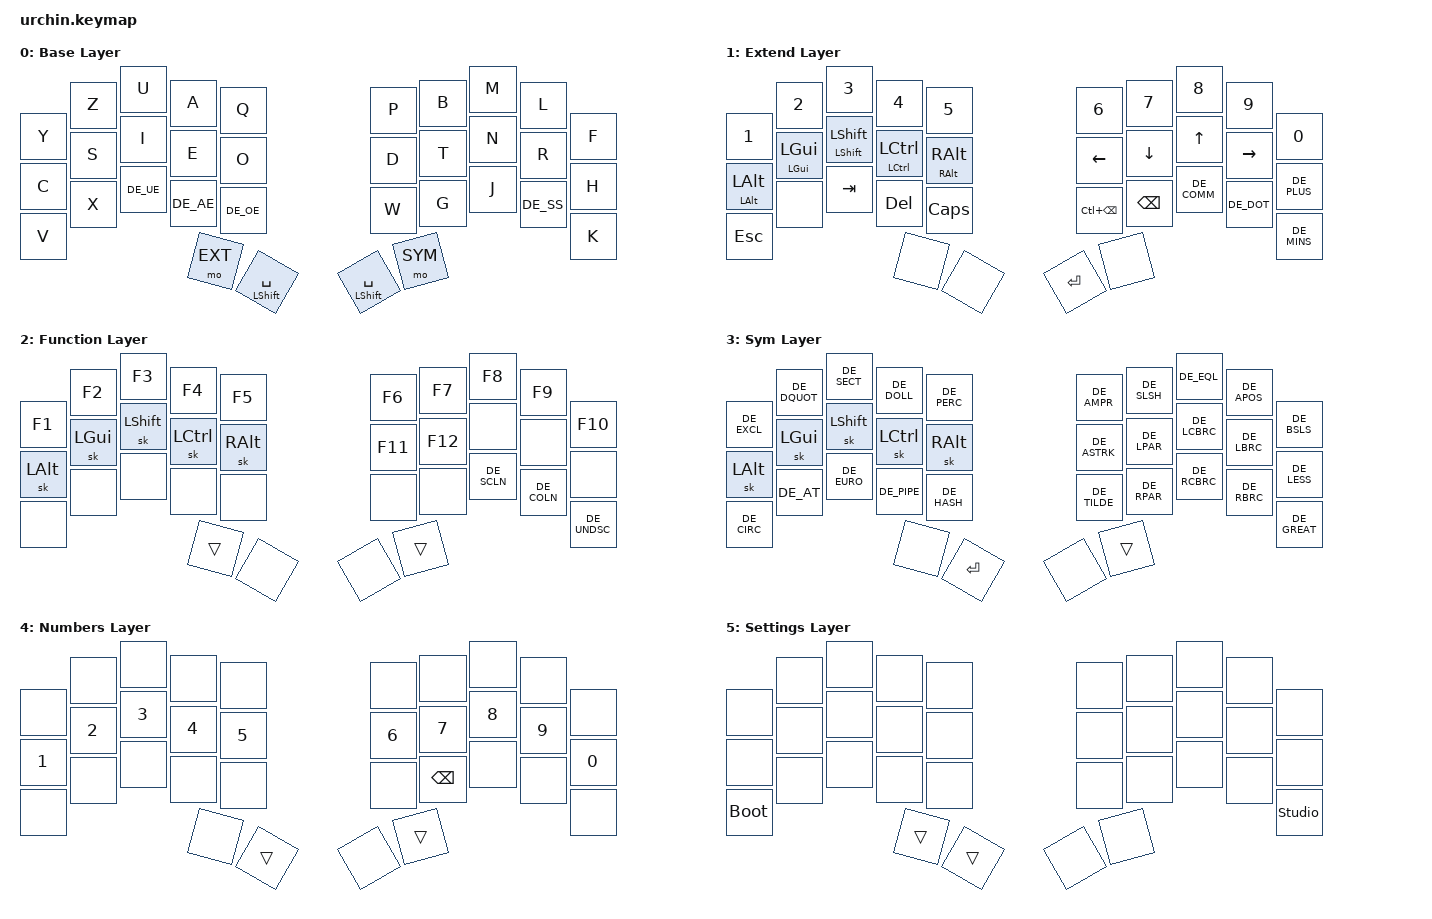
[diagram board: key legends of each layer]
/*
 * Copyright (c) 2020 duckyb
 *
 * SPDX-License-Identifier: MIT
 */

#include <behaviors.dtsi>
#include <dt-bindings/zmk/keys.h>
#include <dt-bindings/zmk/bt.h>
#include <dt-bindings/zmk/outputs.h>
#include "keymap_german.h"

// Layer definitions
#define BASE 0
#define EXT 1
#define FNC 2
#define SYM 3
#define NUM 4
#define SETTINGS 5
// -----------------

&sk {
	// don't release mods on other mods presses
	ignore-modifiers;
};
/ {
	behaviors {
		// Enables holding the first mod-tap key
		// by performing a tap-release-hold sequence.
		// To use it: "&qt KEYCODE1 KEYCODE2"
		qt: quick_tap {
			compatible = "zmk,behavior-hold-tap";
			#binding-cells = <2>;
			flavor = "hold-preferred";
			tapping-term-ms = <200>;
			quick-tap-ms = <200>;
			bindings = <&kp>, <&kp>;
		};
		smt: sticky_mod_tap {
            compatible = "zmk,behavior-hold-tap";
            #binding-cells = <2>;
            flavor = "hold-preferred";
            tapping-term-ms = <200>;
            bindings = <&kp>, <&sk>;
            display-name = "sticky Mod-Tap";
        };
	};

	macros {
		// sometimes my device thinks a modifier is being held down
		// pressing all modifiers fixes it.
		unstick: unstick {
			compatible = "zmk,behavior-macro";
			#binding-cells = <0>;
			bindings = <&kp LSHIFT &kp RSHIFT &kp LCTRL &kp RCTRL &kp LALT &kp RALT &kp LGUI &kp RGUI>;
		};
	};

	combos {
		compatible = "zmk,combos";

		// both left thumb keys
		combo_settings {
			timeout-ms = <200>;
			key-positions = <30 31>;
			bindings = <&mo SETTINGS>;
		};

		// outer left + outer right thumb
		combo_fnc {
			timeout-ms = <200>;
			key-positions = <30 33>;
			bindings = <&mo FNC>;
		};

		// inner left + outer right thumb
		combo_num {
			timeout-ms = <200>;
			key-positions = <31 33>;
			bindings = <&mo NUM>;
		};
	};

	keymap {
		compatible = "zmk,keymap";
		// Noted Base Layer
        // ┌───┬───┬───┬───┬───┐       ┌───┬───┬───┬───┬───┐
        // │ Y │ Z │ U │ A │ Q │       │ P │ B │ M │ L │ F │
        // ├───┼───┼───┼───┼───┤       ├───┼───┼───┼───┼───┤
        // │ C │ S │ I │ E │ O │       │ D │ T │ N │ R │ H │
        // ├───┼───┼───┼───┼───┤       ├───┼───┼───┼───┼───┤
        // │ V │ X │ Ü │ Ä │ Ö │       │ W │ G │ J │ ß │ K │
        // └───┴───┴───┴───┴───┘       └───┴───┴───┴───┴───┘
        //         ┌──────┬──────┐     ┌──────┬──────┐
        //         │ EXT  │LSHFT │     │SPACE │ SYM  │
        //         └──────┴──────┘     └──────┴──────┘
		default_layer {
			display-name = "Base Layer";
			bindings = <
				&kp Y   &kp Z   &kp U   &kp A   &kp Q      &kp P   &kp B   &kp M   &kp L   &kp F
				&kp C   &kp S   &kp I   &kp E   &kp O      &kp D   &kp T   &kp N   &kp R   &kp H
				&kp V   &kp X   &kp DE_UE &kp DE_AE &kp DE_OE  &kp W   &kp G   &kp J   &kp DE_SS   &kp K
								&mo EXT &qt LSHIFT SPACE       &qt LSHIFT SPACE &mo SYM
			>;
		};
		// Extend layer
        // ┌───┬───┬───┬───┬───┐       ┌───┬───┬───┬───┬───┐
        // │ 1 │ 2 │ 3 │ 4 │ 5 │       │ 6 │ 7 │ 8 │ 9 │ 0 │
        // ├───┼───┼───┼───┼───┤       ├───┼───┼───┼───┼───┤
        // │ALT│WIN│SFT│CTL│ALR│       │LFT│DWN│UP │RGT│ + │
        // ├───┼───┼───┼───┼───┤       ├───┼───┼───┼───┼───┤
        // │Esc│   │TAB│DEL│CAP│       │C+B│BSP│ , │ . │ - │
        // └───┴───┴───┴───┴───┘       └───┴───┴───┴───┴───┘
        //         ┌─────┬─────┐       ┌─────┬─────┐
        //         │  X  │None │       │Enter│None │
        //         └─────┴─────┘       └─────┴─────┘
		ext_layer {
			display-name = "Extend Layer";
			bindings = <
				&kp N1 	   &kp N2   &kp N3   &kp N4    &kp N5         &kp N6        &kp N7   &kp N8      &kp N9     &kp N0
				&smt LALT LALT  &smt LGUI LGUI &smt LSHIFT LSHIFT &smt LCTRL LCTRL &smt RALT RALT     &kp LEFT      &kp DOWN &kp UP      &kp RIGHT  &kp DE_PLUS
				&kp ESC    &none    &kp TAB    &kp DEL   &kp CAPSLOCK   &kp LC(BSPC)  &kp BSPC &kp DE_COMM &kp DE_DOT &kp DE_MINS
											 &none     &none     	  &kp ENTER     &none
			>;
		};
		// Function layer
        // ┌───┬───┬───┬───┬───┐       ┌───┬───┬───┬───┬───┐
        // │F1 │F2 │F3 │F4 │F5 │       │F6 │F7 │F8 │F9 │F10│
        // ├───┼───┼───┼───┼───┤       ├───┼───┼───┼───┼───┤
        // │ALT│WIN│SFT│CTL│ALR│       │F11│F12│   │   │   │
        // ├───┼───┼───┼───┼───┤       ├───┼───┼───┼───┼───┤
        // │   │   │   │   │   │       │   │   │ ; │ : │ _ │
        // └───┴───┴───┴───┴───┘       └───┴───┴───┴───┴───┘
        //         ┌─────┬─────┐       ┌─────┬─────┐
        //         │  X  │None |       │None |  X  │
        //         └─────┴─────┘       └─────┴─────┘
		fun_layer {
			display-name = "Function Layer";
			bindings = <
				&kp F1     &kp F2   &kp F3   &kp F4   &kp F5         &kp F6   &kp F7   &kp F8   &kp F9   &kp F10
				&sk LALT   &sk LGUI &sk LSHIFT &sk LCTRL &sk RALT      &kp F11  &kp F12  &none    &none    &none
				&none      &none    &none    &none    &none          &none    &none    &kp DE_SCLN  &kp DE_COLN &kp DE_UNDSC
											 &trans   &none          &none    &trans
			>;
		};
		// Symbols layer
        // ┌───┬───┬───┬───┬───┐       ┌───┬───┬───┬───┬───┐
        // │ ! │ " │ § │ $ │ % │       │ & │ / │ = │ ' │ \ │
        // ├───┼───┼───┼───┼───┤       ├───┼───┼───┼───┼───┤
        // |ALT│WIN│SFT│CTL│ALR│       │ * │ ( │ { │ [ │ < │
        // ├───┼───┼───┼───┼───┤       ├───┼───┼───┼───┼───┤
        // │ ^ │ @ │ € │ | │ # │       │ ~ │ ) │ } │ ] │ > |
        // └───┴───┴───┴───┴───┘       └───┴───┴───┴───┴───┘
        //         ┌─────┬─────┐       ┌─────┬─────┐
        //         │None │Enter│       │None │  X  │
        //         └─────┴─────┘       └─────┴─────┘
		sym_layer {
			display-name = "Sym Layer";
			bindings = <
				&kp DE_EXCL   &kp DE_DQUOT  &kp DE_SECT   &kp DE_DOLL  &kp DE_PERC         &kp DE_AMPR   &kp DE_SLSH   &kp DE_EQL    &kp DE_APOS  &kp DE_BSLS
				&sk LALT      &sk LGUI      &sk LSHIFT      &sk LCTRL    &sk RALT            &kp DE_ASTRK  &kp DE_LPAR   &kp DE_LCBRC  &kp DE_LBRC  &kp DE_LESS
				&kp DE_CIRC   &kp DE_AT     &kp DE_EURO   &kp DE_PIPE  &kp DE_HASH         &kp DE_TILDE  &kp DE_RPAR   &kp DE_RCBRC  &kp DE_RBRC  &kp DE_GREAT
									&none   &kp ENTER                                  	   &none          &trans
			>;
		};
		// Numbers layer
        // ┌───┬───┬───┬───┬───┐       ┌───┬───┬───┬───┬───┐
        // │   │   │   │   │   │       │   │   │   │   │   │
        // ├───┼───┼───┼───┼───┤       ├───┼───┼───┼───┼───┤
        // │ 1 │ 2 │ 3 │ 4 │ 5 │       │ 6 │ 7 │ 8 │ 9 │ 0 │
        // ├───┼───┼───┼───┼───┤       ├───┼───┼───┼───┼───┤
        // │   │   │   │   │   │       │   │BSP│   │   │   │
        // └───┴───┴───┴───┴───┘       └───┴───┴───┴───┴───┘
        //         ┌─────┬─────┐       ┌─────┬─────┐
        //         │None │  X  │       │None │  X  │
        //         └─────┴─────┘       └─────┴─────┘
		num_layer {
			display-name = "Numbers Layer";
			bindings = <
			&none &none &none &none &none                &none &none &none &none &none
			&kp N1 &kp N2 &kp N3 &kp N4 &kp N5           &kp N6 &kp N7 &kp N8 &kp N9 &kp N0
			&none &none &none &none &none                &none &kp BSPC &none &none &none
							  &none &trans               &none &trans

			>;
		};
		// Used to change the keyboard's settings.
	    // ┌───┬───┬───┬───┬───┐       ┌───┬───┬───┬───┬───┐
        // │   │   │   │   │   │       │   │   │   │   │   │
        // ├───┼───┼───┼───┼───┤       ├───┼───┼───┼───┼───┤
        // │   │   │   │   │   │       │   │   │   │   │   │
        // ├───┼───┼───┼───┼───┤       ├───┼───┼───┼───┼───┤
        // │BL │   │   │   │   │       │   │   │   │   │SU │
        // └───┴───┴───┴───┴───┘       └───┴───┴───┴───┴───┘
        //         ┌─────┬─────┐       ┌─────┬─────┐
        //         │  X  │  X  │       │     │     │
        //         └─────┴─────┘       └─────┴─────┘
		settings_layer {
				display-name = "Settings Layer";
				bindings = <
				&none &none &none &none &none           &none &none &none &none &none 
				&none &none &none &none &none			&none &none &none &none &none
				&bootloader &none &none &none &none     &none &none &none &none &studio_unlock
										&trans &trans     &none &none 
				>;
		};
	};
};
